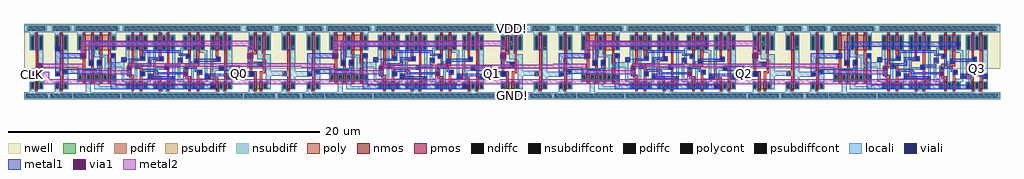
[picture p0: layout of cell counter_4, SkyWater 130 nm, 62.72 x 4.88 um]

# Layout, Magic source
magic
tech sky130A
magscale 1 2
<< locali >>
rect -314 864 12226 960
rect 2685 693 2739 747
rect 5923 693 5977 747
rect 9161 693 9215 747
rect 3104 498 3170 692
rect 1010 374 1062 426
rect 4248 374 4300 426
rect 6342 474 6408 668
rect 9580 488 9646 682
rect 7486 374 7538 426
rect 10724 374 10776 426
rect 11902 370 11968 436
rect 1738 306 1792 358
rect 2788 304 3068 368
rect 3104 295 3343 361
rect 4976 306 5030 358
rect 6026 304 6306 368
rect 6342 291 6593 357
rect 8214 306 8268 358
rect 9264 304 9544 368
rect 9580 293 9847 359
rect 11452 306 11506 358
rect -314 0 12226 96
<< viali >>
rect 88 625 142 679
rect -130 414 -90 454
rect 2689 423 2743 477
rect 2202 384 2240 422
rect 5929 423 5983 477
rect 9165 427 9219 481
rect 5440 384 5478 422
rect 8678 384 8716 422
rect -231 299 -177 353
rect 2581 301 2635 355
rect 5819 301 5873 355
rect 9057 301 9111 355
<< metal1 >>
rect 82 679 148 691
rect 82 625 88 679
rect 142 625 148 679
rect 82 529 148 625
rect 407 531 413 597
rect 479 531 485 597
rect 2549 523 2555 589
rect 2621 523 2627 589
rect 3645 531 3651 597
rect 3717 531 3723 597
rect 2555 483 2621 523
rect 5804 521 5810 587
rect 5876 521 5882 587
rect 6883 531 6889 597
rect 6955 531 6961 597
rect 9040 521 9046 587
rect 9112 521 9118 587
rect 10121 531 10199 597
rect 5810 483 5876 521
rect 9046 487 9112 521
rect 2555 477 2755 483
rect -136 460 -84 466
rect -136 402 -84 408
rect 2188 422 2457 436
rect 2188 384 2202 422
rect 2240 384 2457 422
rect 2555 423 2689 477
rect 2743 423 2755 477
rect 5810 477 5995 483
rect 2555 417 2755 423
rect 2188 370 2457 384
rect 5426 422 5695 436
rect 5426 384 5440 422
rect 5478 384 5695 422
rect 5810 423 5929 477
rect 5983 423 5995 477
rect 9046 481 9231 487
rect 5810 417 5995 423
rect 5426 370 5695 384
rect 8664 422 8933 436
rect 8664 384 8678 422
rect 8716 384 8933 422
rect 9046 427 9165 481
rect 9219 427 9231 481
rect 9046 421 9231 427
rect 8664 370 8933 384
rect -237 359 -171 365
rect 2391 361 2457 370
rect 5629 361 5695 370
rect 8867 361 8933 370
rect 2391 355 2647 361
rect 2391 301 2581 355
rect 2635 301 2647 355
rect 5629 355 5885 361
rect 2391 295 2647 301
rect 5629 301 5819 355
rect 5873 301 5885 355
rect 8867 355 9123 361
rect 5629 295 5885 301
rect 8867 301 9057 355
rect 9111 301 9123 355
rect 8867 295 9123 301
rect -237 287 -171 293
<< via1 >>
rect 413 531 479 597
rect 2555 523 2621 589
rect 3651 531 3717 597
rect 5810 521 5876 587
rect 6889 531 6955 597
rect 9046 521 9112 587
rect -136 454 -84 460
rect -136 414 -130 454
rect -130 414 -90 454
rect -90 414 -84 454
rect -136 408 -84 414
rect 1010 374 1062 426
rect 4248 374 4300 426
rect 7486 374 7538 426
rect 10724 374 10776 426
rect -237 353 -171 359
rect -237 299 -231 353
rect -231 299 -177 353
rect -177 299 -171 353
rect 1738 306 1792 358
rect -237 293 -171 299
rect 4976 306 5030 358
rect 8214 306 8268 358
rect 11452 306 11506 358
<< metal2 >>
rect 412 687 2622 753
rect 3650 687 5876 753
rect 6888 687 9112 753
rect 413 597 479 687
rect 413 525 479 531
rect 2555 589 2621 687
rect 3651 597 3717 687
rect 3651 525 3717 531
rect 5810 587 5876 687
rect 2555 517 2621 523
rect 6889 597 6955 687
rect 6889 525 6955 531
rect 9046 587 9112 687
rect 5810 515 5876 521
rect 9046 515 9112 521
rect -142 408 -136 460
rect -84 458 -78 460
rect 1018 458 3340 468
rect 7494 458 9800 460
rect -84 410 434 458
rect 1018 432 3672 458
rect 6484 448 6910 458
rect 4252 432 6910 448
rect 7494 432 10148 458
rect -84 408 -78 410
rect 386 374 434 410
rect 1004 426 3672 432
rect 1004 374 1010 426
rect 1062 420 3672 426
rect 1062 374 1070 420
rect 3246 410 3672 420
rect -236 359 -172 362
rect -243 293 -237 359
rect -171 293 5 359
rect 386 326 1070 374
rect 3624 374 3672 410
rect 4242 426 6910 432
rect 4242 374 4248 426
rect 4300 410 6910 426
rect 4300 400 6568 410
rect 4300 374 4308 400
rect 1730 358 1796 366
rect -236 288 -172 293
rect -61 261 5 293
rect 1730 306 1738 358
rect 1792 306 1796 358
rect 3624 326 4308 374
rect 6862 374 6910 410
rect 7480 426 10148 432
rect 7480 374 7486 426
rect 7538 412 10148 426
rect 7538 374 7546 412
rect 9722 410 10148 412
rect 4968 358 5034 366
rect 1730 261 1796 306
rect 4968 306 4976 358
rect 5030 306 5034 358
rect 6862 326 7546 374
rect 10100 374 10148 410
rect 10718 426 10784 432
rect 10718 374 10724 426
rect 10776 374 10784 426
rect 8206 358 8272 366
rect 4968 261 5034 306
rect 8206 306 8214 358
rect 8268 306 8272 358
rect 10100 326 10784 374
rect 11444 358 11510 366
rect 8206 261 8272 306
rect 11444 306 11452 358
rect 11506 306 11510 358
rect 11444 261 11510 306
rect -61 195 11510 261
use inv  inv_1 ~/magic/library/mag
transform 1 0 -314 0 1 0
box -4 0 322 976
use inv  inv_2
transform 1 0 2924 0 1 0
box -4 0 322 976
use inv  inv_3
transform 1 0 6162 0 1 0
box -4 0 322 976
use inv  inv_4
transform 1 0 9400 0 1 0
box -4 0 322 976
use nand  nand_0 ~/magic/library/mag
transform 1 0 8974 0 1 0
box -4 0 430 976
use nand  nand_1
transform 1 0 2498 0 1 0
box -4 0 430 976
use nand  nand_2
transform 1 0 5736 0 1 0
box -4 0 430 976
use tff  tff_0
transform 1 0 6776 0 1 0
box -300 0 2212 976
use tff  tff_1
transform 1 0 300 0 1 0
box -300 0 2212 976
use tff  tff_2
transform 1 0 3538 0 1 0
box -300 0 2212 976
use tff  tff_3
transform 1 0 10014 0 1 0
box -300 0 2212 976
<< labels >>
flabel locali -314 864 12226 960 0 FreeSerif 160 0 0 0 VDD!
flabel locali -314 0 12226 96 0 FreeSerif 160 0 0 0 GND!
flabel metal2 -236 288 -172 362 0 FreeSerif 160 0 0 0 CLK
port 2 nsew
flabel metal1 2391 296 2502 360 0 FreeSerif 160 0 0 0 Q0
port 5 nsew
flabel metal1 5630 296 5774 360 0 FreeSerif 160 0 0 0 Q1
port 9 nsew
flabel metal1 8870 296 9008 360 0 FreeSerif 160 0 0 0 Q2
port 13 nsew
flabel locali 11902 370 11968 436 0 FreeSerif 160 0 0 0 Q3
port 16 nsew
<< end >>

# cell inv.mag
magic
tech sky130A
<< nwell >>
rect -2 197 161 488
<< nmos >>
rect 72 65 87 115
<< pmos >>
rect 72 315 87 415
<< ndiff >>
rect 36 107 72 115
rect 36 73 44 107
rect 61 73 72 107
rect 36 65 72 73
rect 87 107 123 115
rect 87 73 98 107
rect 115 73 123 107
rect 87 65 123 73
<< pdiff >>
rect 36 407 72 415
rect 36 323 44 407
rect 61 323 72 407
rect 36 315 72 323
rect 87 407 123 415
rect 87 323 98 407
rect 115 323 123 407
rect 87 315 123 323
<< ndiffc >>
rect 44 73 61 107
rect 98 73 115 107
<< pdiffc >>
rect 44 323 61 407
rect 98 323 115 407
<< psubdiff >>
rect 0 10 12 38
rect 147 10 159 38
<< nsubdiff >>
rect 16 442 28 470
rect 131 442 143 470
<< psubdiffcont >>
rect 12 10 147 38
<< nsubdiffcont >>
rect 28 442 131 470
<< poly >>
rect 72 415 87 428
rect 72 181 87 315
rect 39 173 87 181
rect 39 156 47 173
rect 64 156 87 173
rect 39 148 87 156
rect 72 115 87 148
rect 72 52 87 65
<< polycont >>
rect 47 156 64 173
<< locali >>
rect 0 470 159 480
rect 0 442 28 470
rect 131 442 159 470
rect 0 432 159 442
rect 36 407 69 432
rect 36 323 44 407
rect 61 323 69 407
rect 36 315 69 323
rect 90 407 123 415
rect 90 323 98 407
rect 115 323 123 407
rect 39 173 72 181
rect 39 156 47 173
rect 64 156 72 173
rect 39 148 72 156
rect 36 107 69 115
rect 36 73 44 107
rect 61 73 69 107
rect 36 48 69 73
rect 90 107 123 323
rect 90 73 98 107
rect 115 73 123 107
rect 90 65 123 73
rect 0 38 159 48
rect 0 10 12 38
rect 147 10 159 38
rect 0 0 159 10
<< labels >>
flabel locali 0 432 159 480 0 FreeSerif 80 0 0 0 VDD!
port 2 nsew
flabel locali 0 0 159 48 0 FreeSerif 80 0 0 0 GND!
port 3 nsew
flabel locali 39 148 72 181 0 FreeSerif 80 0 0 0 A
port 4 nsew
flabel locali 90 65 123 415 0 FreeSerif 80 0 0 0 Y
port 5 nsew
flabel ndiff 72 90 72 90 1 FreeSerif 8 0 0 0 S$
flabel pdiff 72 365 72 365 1 FreeSerif 8 0 0 0 S$
<< end >>

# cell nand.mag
magic
tech sky130A
<< nwell >>
rect -2 197 215 488
<< nmos >>
rect 72 65 87 115
rect 108 65 123 115
<< pmos >>
rect 72 315 87 415
rect 126 315 141 415
<< ndiff >>
rect 36 107 72 115
rect 36 73 44 107
rect 61 73 72 107
rect 36 65 72 73
rect 87 65 108 115
rect 123 107 159 115
rect 123 73 134 107
rect 151 73 159 107
rect 123 65 159 73
<< pdiff >>
rect 36 407 72 415
rect 36 323 44 407
rect 61 323 72 407
rect 36 315 72 323
rect 87 407 126 415
rect 87 323 98 407
rect 115 323 126 407
rect 87 315 126 323
rect 141 407 177 415
rect 141 323 152 407
rect 169 323 177 407
rect 141 315 177 323
<< ndiffc >>
rect 44 73 61 107
rect 134 73 151 107
<< pdiffc >>
rect 44 323 61 407
rect 98 323 115 407
rect 152 323 169 407
<< psubdiff >>
rect 0 10 12 38
rect 201 10 213 38
<< nsubdiff >>
rect 16 442 28 470
rect 185 442 197 470
<< psubdiffcont >>
rect 12 10 201 38
<< nsubdiffcont >>
rect 28 442 185 470
<< poly >>
rect 72 415 87 428
rect 126 415 141 428
rect 72 305 87 315
rect 44 290 87 305
rect 44 181 59 290
rect 126 242 141 315
rect 93 234 141 242
rect 93 217 101 234
rect 118 217 141 234
rect 93 209 141 217
rect 126 182 141 209
rect 39 173 87 181
rect 39 156 47 173
rect 64 156 87 173
rect 39 148 87 156
rect 72 115 87 148
rect 108 167 141 182
rect 108 115 123 167
rect 72 52 87 65
rect 108 52 123 65
<< polycont >>
rect 101 217 118 234
rect 47 156 64 173
<< locali >>
rect 0 470 213 480
rect 0 442 28 470
rect 185 442 213 470
rect 0 432 213 442
rect 36 407 69 432
rect 145 415 177 432
rect 36 323 44 407
rect 61 323 69 407
rect 36 315 69 323
rect 90 407 123 415
rect 90 323 98 407
rect 115 323 123 407
rect 90 290 123 323
rect 144 407 177 415
rect 144 323 152 407
rect 169 323 177 407
rect 144 315 177 323
rect 90 259 177 290
rect 93 234 126 242
rect 93 217 101 234
rect 118 217 126 234
rect 93 209 126 217
rect 39 173 72 181
rect 39 156 47 173
rect 64 156 72 173
rect 39 148 72 156
rect 145 115 177 259
rect 36 107 69 115
rect 36 73 44 107
rect 61 73 69 107
rect 36 48 69 73
rect 126 107 177 115
rect 126 73 134 107
rect 151 73 177 107
rect 126 65 177 73
rect 0 38 213 48
rect 0 10 12 38
rect 201 10 213 38
rect 0 0 213 10
<< labels >>
flabel locali 0 432 159 480 0 FreeSerif 80 0 0 0 VDD!
port 2 nsew
flabel locali 0 0 159 48 0 FreeSerif 80 0 0 0 GND!
port 3 nsew
flabel ndiff 72 90 72 90 1 FreeSerif 8 0 0 0 S$
flabel pdiff 72 365 72 365 1 FreeSerif 8 0 0 0 S$
flabel locali 151 65 152 290 0 FreeSerif 80 0 0 0 Y
port 5 nsew
flabel ndiff 108 90 108 90 1 FreeSerif 8 0 0 0 S$
flabel locali 93 209 126 242 0 FreeSerif 80 0 0 0 A
port 4 nsew
flabel pdiff 141 365 141 365 1 FreeSerif 8 0 0 0 S$
flabel locali 39 148 72 181 0 FreeSerif 80 0 0 0 B
port 8 nsew
<< end >>

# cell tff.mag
magic
tech sky130A
magscale 1 2
<< locali >>
rect -296 864 2200 960
rect 494 412 657 478
rect -212 346 -158 356
rect -212 312 -202 346
rect -168 312 -158 346
rect 1430 366 1496 432
rect 1888 370 1954 436
rect 1990 366 2056 438
rect -212 302 -158 312
rect 704 300 770 366
<< viali >>
rect 1656 692 1690 730
rect 109 535 163 589
rect 510 544 544 578
rect 219 443 273 497
rect 331 447 380 496
rect -202 312 -168 346
rect -100 341 -66 375
rect 1784 136 1832 184
<< metal1 >>
rect 213 730 1706 744
rect 213 692 1656 730
rect 1690 692 1706 730
rect 213 678 1706 692
rect -218 589 175 595
rect -218 535 109 589
rect 163 535 175 589
rect -218 529 175 535
rect -218 346 -152 529
rect 213 497 279 678
rect 494 578 560 594
rect 494 544 510 578
rect 544 544 560 578
rect 494 528 560 544
rect 213 443 219 497
rect 273 443 279 497
rect 213 431 279 443
rect 325 496 386 508
rect 325 447 331 496
rect 380 447 386 496
rect 325 391 386 447
rect -218 312 -202 346
rect -168 312 -152 346
rect -116 375 386 391
rect -116 341 -100 375
rect -66 341 386 375
rect -116 330 386 341
rect -116 325 -50 330
rect -218 296 -152 312
rect 498 190 558 528
rect 498 184 1844 190
rect 498 136 1784 184
rect 1832 136 1844 184
rect 498 130 1844 136
use dff  dff_0 ~/magic/library/mag
transform 1 0 620 0 1 0
box -4 0 1592 976
use inv  inv_0 ~/magic/library/mag
transform 1 0 -296 0 1 0
box -4 0 322 976
use xor  xor_0 ~/magic/library/mag
transform 1 0 -4 0 1 0
box 22 0 628 976
<< labels >>
flabel locali -296 864 2200 960 0 FreeSerif 160 0 0 0 VDD!
flabel locali -296 0 2200 96 0 FreeSerif 160 0 0 0 GND!
flabel metal1 -218 362 -152 595 0 FreeSerif 160 0 0 0 T
port 1 nsew
flabel locali 704 300 770 366 0 FreeSerif 160 0 0 0 ~CLK
port 5 nsew
flabel locali 1430 366 1496 432 0 FreeSerif 160 0 0 0 CLK
port 4 nsew
flabel locali 1888 370 1954 436 0 FreeSerif 160 0 0 0 Q
port 6 nsew
flabel locali 1990 366 2056 438 0 FreeSerif 160 0 0 0 ~Q
port 7 nsew
<< end >>

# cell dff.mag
magic
tech sky130A
<< nwell >>
rect -2 197 796 488
<< nmos >>
rect 72 65 87 115
rect 126 65 141 115
rect 247 65 262 115
rect 301 65 316 115
rect 438 65 453 115
rect 492 65 507 115
rect 613 65 628 115
rect 667 65 682 115
<< pmos >>
rect 72 315 87 415
rect 126 315 141 415
rect 247 315 262 415
rect 301 315 316 415
rect 438 315 453 415
rect 492 315 507 415
rect 613 315 628 415
rect 667 315 682 415
<< ndiff >>
rect 36 107 72 115
rect 36 73 44 107
rect 61 73 72 107
rect 36 65 72 73
rect 87 107 126 115
rect 87 73 98 107
rect 115 73 126 107
rect 87 65 126 73
rect 141 107 177 115
rect 141 73 152 107
rect 169 73 177 107
rect 141 65 177 73
rect 211 107 247 115
rect 211 73 219 107
rect 236 73 247 107
rect 211 65 247 73
rect 262 107 301 115
rect 262 73 273 107
rect 290 73 301 107
rect 262 65 301 73
rect 316 107 352 115
rect 316 73 327 107
rect 344 73 352 107
rect 316 65 352 73
rect 402 107 438 115
rect 402 73 410 107
rect 427 73 438 107
rect 402 65 438 73
rect 453 107 492 115
rect 453 73 464 107
rect 481 73 492 107
rect 453 65 492 73
rect 507 107 543 115
rect 507 73 518 107
rect 535 73 543 107
rect 507 65 543 73
rect 577 107 613 115
rect 577 73 585 107
rect 602 73 613 107
rect 577 65 613 73
rect 628 107 667 115
rect 628 73 639 107
rect 656 73 667 107
rect 628 65 667 73
rect 682 107 718 115
rect 682 73 693 107
rect 710 73 718 107
rect 682 65 718 73
<< pdiff >>
rect 36 407 72 415
rect 36 323 44 407
rect 61 323 72 407
rect 36 315 72 323
rect 87 407 126 415
rect 87 323 98 407
rect 115 323 126 407
rect 87 315 126 323
rect 141 407 177 415
rect 141 323 152 407
rect 169 323 177 407
rect 141 315 177 323
rect 211 407 247 415
rect 211 323 219 407
rect 236 323 247 407
rect 211 315 247 323
rect 262 407 301 415
rect 262 323 273 407
rect 290 323 301 407
rect 262 315 301 323
rect 316 407 352 415
rect 316 323 327 407
rect 344 323 352 407
rect 316 315 352 323
rect 402 407 438 415
rect 402 323 410 407
rect 427 323 438 407
rect 402 315 438 323
rect 453 407 492 415
rect 453 323 464 407
rect 481 323 492 407
rect 453 315 492 323
rect 507 407 543 415
rect 507 323 518 407
rect 535 323 543 407
rect 507 315 543 323
rect 577 407 613 415
rect 577 323 585 407
rect 602 323 613 407
rect 577 315 613 323
rect 628 407 667 415
rect 628 323 639 407
rect 656 323 667 407
rect 628 315 667 323
rect 682 407 718 415
rect 682 323 693 407
rect 710 323 718 407
rect 682 315 718 323
<< ndiffc >>
rect 44 73 61 107
rect 98 73 115 107
rect 152 73 169 107
rect 219 73 236 107
rect 273 73 290 107
rect 327 73 344 107
rect 410 73 427 107
rect 464 73 481 107
rect 518 73 535 107
rect 585 73 602 107
rect 639 73 656 107
rect 693 73 710 107
<< pdiffc >>
rect 44 323 61 407
rect 98 323 115 407
rect 152 323 169 407
rect 219 323 236 407
rect 273 323 290 407
rect 327 323 344 407
rect 410 323 427 407
rect 464 323 481 407
rect 518 323 535 407
rect 585 323 602 407
rect 639 323 656 407
rect 693 323 710 407
<< psubdiff >>
rect 0 10 12 38
rect 782 10 794 38
<< nsubdiff >>
rect 16 442 28 470
rect 766 442 778 470
<< psubdiffcont >>
rect 12 10 782 38
<< nsubdiffcont >>
rect 28 442 766 470
<< poly >>
rect 72 415 87 428
rect 126 415 141 428
rect 247 415 262 428
rect 301 415 316 428
rect 438 415 453 428
rect 492 415 507 428
rect 613 415 628 428
rect 667 415 682 428
rect 72 224 87 315
rect 126 282 141 315
rect 126 274 159 282
rect 247 278 262 315
rect 126 257 134 274
rect 151 257 159 274
rect 246 270 279 278
rect 246 263 254 270
rect 126 249 159 257
rect 210 253 254 263
rect 271 253 279 270
rect 210 245 279 253
rect 72 207 141 224
rect 115 199 141 207
rect 42 175 75 183
rect 42 158 50 175
rect 67 158 75 175
rect 126 182 141 199
rect 126 174 159 182
rect 42 150 87 158
rect 57 139 87 150
rect 72 115 87 139
rect 126 157 134 174
rect 151 157 159 174
rect 126 149 159 157
rect 210 151 229 245
rect 301 223 316 315
rect 438 295 453 315
rect 420 287 453 295
rect 420 270 428 287
rect 445 270 453 287
rect 420 262 453 270
rect 492 228 507 315
rect 613 276 628 315
rect 613 268 646 276
rect 613 259 621 268
rect 283 215 316 223
rect 418 216 507 228
rect 283 198 291 215
rect 308 198 316 215
rect 283 190 316 198
rect 126 115 141 149
rect 210 132 262 151
rect 247 115 262 132
rect 301 115 316 190
rect 405 213 507 216
rect 578 251 621 259
rect 638 251 646 268
rect 578 243 646 251
rect 405 208 438 213
rect 405 191 413 208
rect 430 191 438 208
rect 405 183 438 191
rect 418 150 438 183
rect 492 184 525 192
rect 492 167 500 184
rect 517 167 525 184
rect 492 159 525 167
rect 418 135 453 150
rect 438 115 453 135
rect 492 115 507 159
rect 578 144 596 243
rect 667 218 682 315
rect 634 210 682 218
rect 634 193 642 210
rect 659 193 682 210
rect 634 185 682 193
rect 578 129 628 144
rect 613 115 628 129
rect 667 115 682 185
rect 72 52 87 65
rect 126 52 141 65
rect 247 52 262 65
rect 301 52 316 65
rect 438 52 453 65
rect 492 52 507 65
rect 613 52 628 65
rect 667 52 682 65
<< polycont >>
rect 134 257 151 274
rect 254 253 271 270
rect 50 158 67 175
rect 134 157 151 174
rect 428 270 445 287
rect 291 198 308 215
rect 621 251 638 268
rect 413 191 430 208
rect 500 167 517 184
rect 642 193 659 210
<< locali >>
rect 0 470 794 480
rect 0 442 28 470
rect 766 442 794 470
rect 0 432 794 442
rect 36 407 69 415
rect 36 323 44 407
rect 61 323 69 407
rect 36 315 69 323
rect 90 407 123 415
rect 90 323 98 407
rect 115 323 123 407
rect 90 315 123 323
rect 144 407 177 415
rect 144 323 152 407
rect 169 323 177 407
rect 144 316 177 323
rect 211 407 244 415
rect 211 323 219 407
rect 236 323 244 407
rect 36 272 58 315
rect 7 264 58 272
rect 7 247 15 264
rect 32 256 58 264
rect 32 255 54 256
rect 32 247 40 255
rect 7 239 40 247
rect 8 133 25 239
rect 92 232 109 315
rect 144 299 193 316
rect 126 274 159 282
rect 126 257 134 274
rect 151 257 159 274
rect 126 249 159 257
rect 92 224 128 232
rect 42 209 75 216
rect 42 192 50 209
rect 67 192 75 209
rect 42 175 75 192
rect 42 158 50 175
rect 67 158 75 175
rect 42 150 75 158
rect 92 207 103 224
rect 120 207 128 224
rect 92 199 128 207
rect 8 115 69 133
rect 92 119 109 199
rect 126 174 159 182
rect 126 157 134 174
rect 151 157 159 174
rect 126 149 159 157
rect 176 165 193 299
rect 211 315 244 323
rect 265 407 298 432
rect 265 323 273 407
rect 290 323 298 407
rect 265 315 298 323
rect 319 407 352 415
rect 319 323 327 407
rect 344 323 352 407
rect 402 407 435 415
rect 402 332 410 407
rect 319 315 352 323
rect 211 207 229 315
rect 246 270 279 278
rect 246 253 254 270
rect 271 253 279 270
rect 246 245 279 253
rect 283 215 316 223
rect 283 207 291 215
rect 211 198 291 207
rect 308 198 316 215
rect 211 190 316 198
rect 211 182 244 190
rect 176 157 209 165
rect 176 140 184 157
rect 201 140 209 157
rect 176 132 209 140
rect 36 107 69 115
rect 36 73 44 107
rect 61 73 69 107
rect 36 65 69 73
rect 90 107 123 119
rect 90 73 98 107
rect 115 73 123 107
rect 90 65 123 73
rect 144 115 194 132
rect 226 115 244 182
rect 335 148 352 315
rect 385 323 410 332
rect 427 323 435 407
rect 385 315 435 323
rect 456 407 489 415
rect 456 323 464 407
rect 481 323 489 407
rect 456 315 489 323
rect 385 267 402 315
rect 319 140 352 148
rect 319 123 327 140
rect 344 123 352 140
rect 144 107 177 115
rect 144 73 152 107
rect 169 73 177 107
rect 144 65 177 73
rect 211 107 244 115
rect 211 73 219 107
rect 236 73 244 107
rect 211 65 244 73
rect 265 107 298 115
rect 265 73 273 107
rect 290 73 298 107
rect 265 48 298 73
rect 319 107 352 123
rect 369 259 402 267
rect 420 287 453 295
rect 420 270 428 287
rect 445 270 453 287
rect 420 262 453 270
rect 369 242 377 259
rect 394 242 402 259
rect 472 261 489 315
rect 510 407 543 415
rect 510 323 518 407
rect 535 323 543 407
rect 510 316 543 323
rect 577 407 610 415
rect 577 323 585 407
rect 602 323 610 407
rect 510 299 560 316
rect 472 253 505 261
rect 472 245 480 253
rect 369 234 402 242
rect 456 236 480 245
rect 497 236 505 253
rect 369 133 386 234
rect 456 228 505 236
rect 405 208 438 216
rect 405 191 413 208
rect 430 191 438 208
rect 405 175 438 191
rect 405 158 413 175
rect 430 158 438 175
rect 405 150 438 158
rect 369 115 435 133
rect 319 73 327 107
rect 344 73 352 107
rect 319 65 352 73
rect 402 107 435 115
rect 402 73 410 107
rect 427 73 435 107
rect 402 65 435 73
rect 456 115 473 228
rect 492 184 525 192
rect 492 167 500 184
rect 517 167 525 184
rect 492 159 525 167
rect 542 165 560 299
rect 577 315 610 323
rect 631 407 664 432
rect 631 323 639 407
rect 656 323 664 407
rect 631 315 664 323
rect 685 407 718 415
rect 685 323 693 407
rect 710 323 718 407
rect 577 209 594 315
rect 613 268 646 276
rect 613 251 621 268
rect 638 251 646 268
rect 613 243 646 251
rect 634 210 667 218
rect 577 203 610 209
rect 634 203 642 210
rect 577 193 642 203
rect 659 193 667 210
rect 577 192 667 193
rect 593 185 667 192
rect 542 157 575 165
rect 542 140 550 157
rect 567 140 575 157
rect 542 132 575 140
rect 510 115 560 132
rect 593 115 610 185
rect 685 157 718 323
rect 685 140 693 157
rect 710 140 718 157
rect 456 107 489 115
rect 456 73 464 107
rect 481 73 489 107
rect 456 65 489 73
rect 510 107 543 115
rect 510 73 518 107
rect 535 73 543 107
rect 510 65 543 73
rect 577 107 610 115
rect 577 73 585 107
rect 602 73 610 107
rect 577 65 610 73
rect 631 107 664 115
rect 631 73 639 107
rect 656 73 664 107
rect 631 48 664 73
rect 685 107 718 140
rect 685 73 693 107
rect 710 73 718 107
rect 685 65 718 73
rect 0 38 794 48
rect 0 10 12 38
rect 782 10 794 38
rect 0 0 794 10
<< viali >>
rect 15 247 32 264
rect 134 257 151 274
rect 50 192 67 209
rect 103 207 120 224
rect 134 157 151 174
rect 254 253 271 270
rect 291 198 308 215
rect 184 140 201 157
rect 327 123 344 140
rect 428 270 445 287
rect 377 242 394 259
rect 480 236 497 253
rect 413 158 430 175
rect 500 167 517 184
rect 621 251 638 268
rect 550 140 567 157
rect 693 140 710 157
<< metal1 >>
rect 145 301 389 315
rect 145 282 159 301
rect 126 274 159 282
rect 374 295 389 301
rect 374 287 453 295
rect 374 281 428 287
rect 7 264 40 272
rect 7 247 15 264
rect 32 247 40 264
rect 126 263 134 274
rect 7 239 40 247
rect 54 257 134 263
rect 151 257 159 274
rect 246 270 279 278
rect 54 249 159 257
rect 183 254 254 270
rect 54 216 70 249
rect 183 232 199 254
rect 246 253 254 254
rect 271 253 279 270
rect 420 270 428 281
rect 445 270 453 287
rect 246 245 279 253
rect 369 259 402 267
rect 420 262 453 270
rect 95 224 199 232
rect 42 209 75 216
rect 42 192 50 209
rect 67 192 75 209
rect 95 207 103 224
rect 120 216 199 224
rect 369 242 377 259
rect 394 242 402 259
rect 369 234 402 242
rect 369 223 386 234
rect 120 207 128 216
rect 95 199 128 207
rect 283 215 386 223
rect 283 198 291 215
rect 308 208 386 215
rect 439 211 453 262
rect 613 268 646 276
rect 613 261 621 268
rect 472 253 621 261
rect 472 236 480 253
rect 497 251 621 253
rect 638 251 646 268
rect 497 243 646 251
rect 497 236 505 243
rect 472 228 505 236
rect 308 198 316 208
rect 42 150 75 192
rect 145 182 238 193
rect 283 190 316 198
rect 439 197 492 211
rect 478 192 492 197
rect 478 184 525 192
rect 126 179 238 182
rect 126 174 159 179
rect 126 157 134 174
rect 151 157 159 174
rect 223 176 238 179
rect 405 176 438 183
rect 478 177 500 184
rect 223 175 438 176
rect 126 149 159 157
rect 176 157 209 165
rect 223 162 413 175
rect 176 140 184 157
rect 201 148 209 157
rect 405 158 413 162
rect 430 158 438 175
rect 492 167 500 177
rect 517 167 525 184
rect 492 159 525 167
rect 405 150 438 158
rect 542 157 718 165
rect 201 140 352 148
rect 176 132 327 140
rect 319 123 327 132
rect 344 123 352 140
rect 542 140 550 157
rect 567 150 693 157
rect 567 140 575 150
rect 542 132 575 140
rect 685 140 693 150
rect 710 140 718 157
rect 685 132 718 140
rect 319 115 352 123
<< labels >>
flabel pdiff 87 366 87 366 1 FreeSerif 8 0 0 0 S$
flabel pdiff 141 366 141 366 1 FreeSerif 8 0 0 0 S$
flabel ndiff 141 90 141 90 1 FreeSerif 8 0 0 0 S$
flabel ndiff 87 90 87 90 1 FreeSerif 8 0 0 0 S$
flabel locali 0 432 790 480 0 FreeSerif 80 0 0 0 VDD!
port 15 nsew
flabel locali 0 0 790 48 0 FreeSerif 80 0 0 0 GND!
port 16 nsew
flabel locali 7 239 40 272 0 FreeSerif 80 0 0 0 D
port 0 nsew
flabel locali 42 150 75 183 0 FreeSerif 80 0 0 0 ~CLK
port 1 nsew
flabel pdiff 262 365 262 365 1 FreeSerif 8 180 0 0 S$
flabel ndiff 262 90 262 90 1 FreeSerif 8 180 0 0 S$
flabel ndiff 301 90 301 90 1 FreeSerif 8 0 0 0 S$
flabel pdiff 301 365 301 365 1 FreeSerif 8 0 0 0 S$
flabel pdiff 453 366 453 366 1 FreeSerif 8 0 0 0 S$
flabel pdiff 507 366 507 366 1 FreeSerif 8 0 0 0 S$
flabel ndiff 507 90 507 90 1 FreeSerif 8 0 0 0 S$
flabel ndiff 453 90 453 90 1 FreeSerif 8 0 0 0 S$
flabel locali 405 183 438 216 0 FreeSerif 80 0 0 0 CLK
port 2 nsew
flabel ndiff 628 90 628 90 1 FreeSerif 8 180 0 0 S$
flabel pdiff 628 365 628 365 1 FreeSerif 8 180 0 0 S$
flabel locali 634 185 667 218 0 FreeSerif 80 0 0 0 Q
port 4 nsew
flabel pdiff 667 365 667 365 1 FreeSerif 8 0 0 0 S$
flabel ndiff 667 90 667 90 1 FreeSerif 8 0 0 0 S$
flabel locali 685 182 718 219 0 FreeSerif 80 0 0 0 ~Q
port 3 nsew
<< end >>

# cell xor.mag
magic
tech sky130A
<< nwell >>
rect -2 197 323 488
<< nmos >>
rect 72 113 87 163
rect 126 113 141 163
rect 180 113 195 163
rect 234 113 249 163
<< pmos >>
rect 72 315 87 415
rect 126 315 141 415
rect 180 315 195 415
rect 234 315 249 415
<< ndiff >>
rect 36 155 72 163
rect 36 121 44 155
rect 61 121 72 155
rect 36 113 72 121
rect 87 155 126 163
rect 87 121 98 155
rect 115 121 126 155
rect 87 113 126 121
rect 141 155 180 163
rect 141 121 152 155
rect 169 121 180 155
rect 141 113 180 121
rect 195 155 234 163
rect 195 121 206 155
rect 223 121 234 155
rect 195 113 234 121
rect 249 155 285 163
rect 249 121 260 155
rect 277 121 285 155
rect 249 113 285 121
<< pdiff >>
rect 36 407 72 415
rect 36 323 44 407
rect 61 323 72 407
rect 36 315 72 323
rect 87 315 126 415
rect 141 407 180 415
rect 141 323 152 407
rect 169 323 180 407
rect 141 315 180 323
rect 195 315 234 415
rect 249 407 285 415
rect 249 323 260 407
rect 277 323 285 407
rect 249 315 285 323
<< ndiffc >>
rect 44 121 61 155
rect 98 121 115 155
rect 152 121 169 155
rect 206 121 223 155
rect 260 121 277 155
<< pdiffc >>
rect 44 323 61 407
rect 152 323 169 407
rect 260 323 277 407
<< psubdiff >>
rect 0 10 12 38
rect 309 10 321 38
<< nsubdiff >>
rect 16 442 28 470
rect 293 442 305 470
<< psubdiffcont >>
rect 12 10 309 38
<< nsubdiffcont >>
rect 28 442 293 470
<< poly >>
rect 72 415 87 428
rect 126 415 141 428
rect 180 415 195 428
rect 234 415 249 428
rect 72 290 87 315
rect 54 282 87 290
rect 54 265 62 282
rect 79 265 87 282
rect 54 257 87 265
rect 72 163 87 257
rect 126 250 141 315
rect 180 250 195 315
rect 108 242 141 250
rect 108 225 116 242
rect 133 225 141 242
rect 108 217 141 225
rect 162 242 195 250
rect 162 225 170 242
rect 187 225 195 242
rect 162 217 195 225
rect 126 163 141 217
rect 180 163 195 217
rect 234 298 249 315
rect 234 290 282 298
rect 234 273 257 290
rect 274 273 282 290
rect 234 265 282 273
rect 234 163 249 265
rect 72 100 87 113
rect 126 100 141 113
rect 180 100 195 113
rect 234 100 249 113
<< polycont >>
rect 62 265 79 282
rect 116 225 133 242
rect 170 225 187 242
rect 257 273 274 290
<< locali >>
rect 0 470 321 480
rect 0 442 28 470
rect 293 442 321 470
rect 0 432 321 442
rect 36 407 69 432
rect 36 323 44 407
rect 61 323 69 407
rect 36 315 69 323
rect 144 407 177 415
rect 144 323 152 407
rect 169 323 177 407
rect 54 282 87 290
rect 54 265 62 282
rect 79 265 87 282
rect 144 288 177 323
rect 252 407 285 432
rect 252 323 260 407
rect 277 323 285 407
rect 252 315 285 323
rect 249 290 282 298
rect 144 271 231 288
rect 54 257 87 265
rect 108 242 141 250
rect 108 225 116 242
rect 133 225 141 242
rect 108 217 141 225
rect 162 242 195 250
rect 162 225 170 242
rect 187 225 195 242
rect 162 217 195 225
rect 212 228 231 271
rect 249 273 257 290
rect 274 273 282 290
rect 249 265 282 273
rect 284 228 317 239
rect 212 206 317 228
rect 36 180 177 200
rect 36 155 69 180
rect 36 121 44 155
rect 61 121 69 155
rect 36 113 69 121
rect 90 155 123 163
rect 90 121 98 155
rect 115 121 123 155
rect 90 48 123 121
rect 144 155 177 180
rect 212 168 231 206
rect 144 121 152 155
rect 169 121 177 155
rect 144 84 177 121
rect 198 155 231 168
rect 198 121 206 155
rect 223 121 231 155
rect 198 113 231 121
rect 252 155 285 163
rect 252 121 260 155
rect 277 121 285 155
rect 252 84 285 121
rect 144 67 285 84
rect 0 38 321 48
rect 0 10 12 38
rect 309 10 321 38
rect 0 0 321 10
<< labels >>
flabel pdiff 72 365 72 365 1 FreeSerif 8 0 0 0 S$
flabel pdiff 195 365 195 365 1 FreeSerif 8 0 0 0 S$
flabel pdiff 249 365 249 365 1 FreeSerif 8 0 0 0 S$
flabel pdiff 126 363 126 363 1 FreeSerif 8 0 0 0 S$
flabel locali 54 257 87 290 0 FreeSerif 80 0 0 0 A
port 11 nsew
flabel locali 108 217 141 250 0 FreeSerif 80 0 0 0 ~B
port 12 nsew
flabel locali 162 217 195 250 0 FreeSerif 80 0 0 0 ~A
port 13 nsew
flabel locali 249 265 282 298 0 FreeSerif 80 0 0 0 B
port 14 nsew
flabel locali 284 206 317 239 0 FreeSerif 80 0 0 0 Y
port 4 nsew
flabel locali 0 0 321 48 0 FreeSerif 80 0 0 0 GND!
port 3 nsew
flabel locali 0 432 321 480 0 FreeSerif 80 0 0 0 VDD!
port 2 nsew
flabel ndiff 87 135 87 135 1 FreeSerif 8 0 0 0 S$
flabel ndiff 126 137 126 137 1 FreeSerif 8 0 0 0 S$
flabel ndiff 180 137 180 137 1 FreeSerif 8 0 0 0 S$
flabel ndiff 249 138 249 138 1 FreeSerif 8 0 0 0 S$
<< end >>
